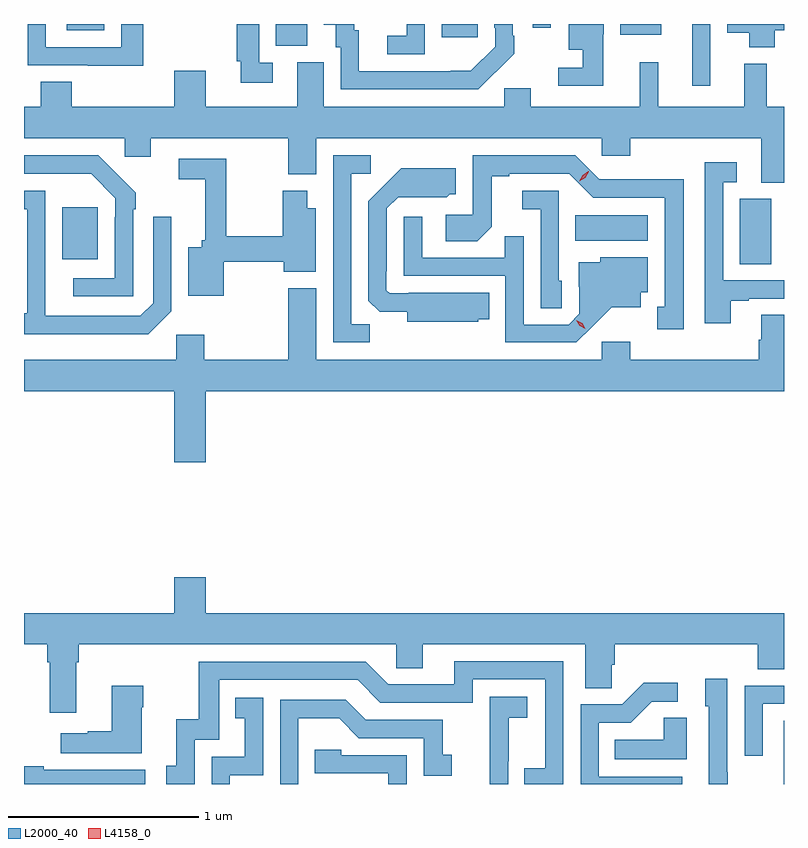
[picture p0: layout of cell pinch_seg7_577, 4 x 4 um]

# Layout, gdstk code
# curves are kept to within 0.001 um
import gdstk
lib = gdstk.Library(unit=1e-6, precision=1e-09)
def R(c, l, rs):  # rectangles x0, y0, x1, y1
    for r in rs: c.add(gdstk.rectangle(r[:2], r[2:], *l))
def P(c, l, *ps):  # polygons
    for p in ps: c.add(gdstk.Polygon(p, *l))
L2000_40 = (2000, 40)
L4158_0 = (4158, 0)

pinch_seg7_577 = lib.new_cell('pinch_seg7_577')
R(pinch_seg7_577, L2000_40, [(180.203,1055.824,180.204,1056.157), (179.972,1058.56,180.136,1058.904), (176.405,1058.585,176.593,1058.86), (179.104,1058.684,179.488,1058.818), (179.72,1059.498,179.817,1059.824), (177.53,1059.709,177.694,1059.824), (178.403,1059.753,178.591,1059.824), (179.342,1059.767,179.557,1059.824), (176.429,1059.791,176.626,1059.824), (178.881,1059.804,178.977,1059.824)])
P(pinch_seg7_577, L2000_40, [(179.253,1059.771),(179.254,1059.771),(179.254,1059.824),(179.072,1059.824),(179.072,1059.689),(179.145,1059.689),(179.145,1059.594),(179.016,1059.594),(179.016,1059.498),(179.253,1059.498)],
  [(178.685,1059.571),(178.686,1059.57),(178.784,1059.668),(178.784,1059.763),(178.776,1059.763),(178.776,1059.824),(178.68,1059.824),(178.68,1059.805),(178.683,1059.805),(178.683,1059.705),(178.555,1059.577),(178.451,1059.576),(177.967,1059.576),(177.967,1059.792),(177.943,1059.792),(177.943,1059.824),(177.782,1059.824),(177.782,1059.821),(177.845,1059.821),(177.845,1059.702),(177.87,1059.702),(177.87,1059.48),(178.594,1059.48)],
  [(176.831,1059.824),(176.715,1059.824),(176.715,1059.702),(176.319,1059.702),(176.319,1059.824),(176.223,1059.824),(176.223,1059.606),(176.539,1059.606),(176.539,1059.605),(176.831,1059.605)],
  [(178.314,1059.824),(178.218,1059.824),(178.218,1059.762),(178.116,1059.762),(178.116,1059.666),(178.314,1059.666)],
  [(177.514,1059.621),(177.441,1059.621),(177.441,1059.824),(177.325,1059.824),(177.325,1059.628),(177.344,1059.628),(177.344,1059.516),(177.514,1059.516)],
  [(180.155,1059.79),(180.204,1059.79),(180.204,1059.824),(179.906,1059.824),(179.906,1059.779),(180.02,1059.779),(180.02,1059.701),(180.155,1059.701)],
  [(180.204,1059.388),(180.113,1059.388),(180.113,1059.616),(179.996,1059.616),(179.996,1059.388),(179.543,1059.388),(179.543,1059.622),(179.444,1059.622),(179.444,1059.388),(178.87,1059.388),(178.87,1059.486),(178.731,1059.486),(178.731,1059.388),(177.781,1059.388),(177.781,1059.624),(177.641,1059.624),(177.641,1059.388),(177.16,1059.388),(177.16,1059.577),(176.996,1059.577),(176.996,1059.388),(176.456,1059.388),(176.456,1059.521),(176.291,1059.521),(176.291,1059.388),(176.204,1059.388),(176.204,1059.224),(176.733,1059.224),(176.733,1059.126),(176.872,1059.126),(176.872,1059.224),(177.595,1059.224),(177.595,1059.032),(177.742,1059.032),(177.742,1059.224),(179.244,1059.224),(179.244,1059.131),(179.396,1059.131),(179.396,1059.224),(180.083,1059.224),(180.083,1058.989),(180.204,1058.989)],
  [(176.778,1058.849),(176.793,1058.849),(176.793,1058.937),(176.596,1059.132),(176.204,1059.132),(176.204,1059.036),(176.557,1059.036),(176.685,1058.907),(176.685,1058.807),(176.682,1058.807),(176.682,1058.487),(176.463,1058.487),(176.463,1058.391),(176.778,1058.391)],
  [(179.677,1059.008),(179.454,1059.008),(179.454,1059.006),(179.232,1059.006),(179.106,1059.132),(178.566,1059.132),(178.566,1058.82),(178.425,1058.82),(178.425,1058.68),(178.589,1058.68),(178.665,1058.756),(178.665,1059.024),(178.759,1059.024),(178.759,1059.036),(179.073,1059.036),(179.199,1058.91),(179.576,1058.91),(179.576,1058.337),(179.537,1058.337),(179.537,1058.217),(179.677,1058.217)],
  [(178.023,1058.243),(177.927,1058.243),(177.927,1059.036),(178.03,1059.036),(178.03,1059.132),(177.831,1059.132),(177.831,1058.148),(178.023,1058.148)],
  [(177.256,1058.572),(177.572,1058.572),(177.572,1058.519),(177.739,1058.519),(177.739,1058.854),(177.694,1058.854),(177.694,1058.947),(177.565,1058.947),(177.565,1058.708),(177.268,1058.708),(177.268,1059.114),(177.018,1059.114),(177.018,1059.006),(177.158,1059.006),(177.158,1058.685),(177.14,1058.685),(177.14,1058.65),(177.068,1058.65),(177.068,1058.393),(177.256,1058.393)],
  [(179.923,1058.367),(180.019,1058.367),(180.019,1058.379),(180.204,1058.379),(180.204,1058.475),(179.883,1058.475),(179.883,1058.991),(179.956,1058.991),(179.956,1059.097),(179.787,1059.097),(179.787,1058.25),(179.923,1058.25)],
  [(178.596,1058.27),(178.652,1058.27),(178.652,1058.41),(178.228,1058.41),(178.228,1058.406),(178.128,1058.406),(178.11,1058.424),(178.11,1058.524),(178.113,1058.524),(178.113,1058.853),(178.173,1058.913),(178.43,1058.912),(178.446,1058.928),(178.477,1058.928),(178.477,1059.064),(178.189,1059.064),(178.017,1058.89),(178.017,1058.368),(178.076,1058.309),(178.22,1058.309),(178.22,1058.258),(178.596,1058.258)],
  [(179.034,1058.472),(179.019,1058.472),(179.019,1058.946),(178.827,1058.946),(178.827,1058.849),(178.923,1058.849),(178.923,1058.329),(179.034,1058.329)],
  [(176.979,1058.313),(176.979,1058.809),(176.883,1058.809),(176.883,1058.355),(176.817,1058.289),(176.317,1058.289),(176.316,1058.946),(176.204,1058.946),(176.204,1058.85),(176.22,1058.85),(176.22,1058.302),(176.204,1058.302),(176.204,1058.192),(176.858,1058.192)],
  [(179.194,1058.231),(179.297,1058.333),(179.449,1058.333),(179.449,1058.412),(179.488,1058.412),(179.488,1058.596),(179.238,1058.596),(179.238,1058.569),(179.123,1058.569),(179.123,1058.44),(179.127,1058.44),(179.127,1058.298),(179.07,1058.241),(178.833,1058.241),(178.833,1058.708),(178.735,1058.708),(178.735,1058.595),(178.299,1058.595),(178.299,1058.809),(178.203,1058.809),(178.203,1058.499),(178.737,1058.499),(178.737,1058.148),(179.11,1058.148)],
  [(177.16,1057.892),(180.204,1057.892),(180.204,1058.294),(180.083,1058.294),(180.083,1058.162),(180.071,1058.162),(180.071,1058.056),(179.396,1058.056),(179.396,1058.152),(179.244,1058.152),(179.244,1058.056),(177.742,1058.056),(177.742,1058.434),(177.595,1058.434),(177.595,1058.056),(177.153,1058.056),(177.153,1058.188),(177.006,1058.188),(177.006,1058.056),(176.204,1058.056),(176.204,1057.892),(176.996,1057.892),(176.996,1057.518),(177.16,1057.518)],
  [(176.479,1056.464),(176.492,1056.464),(176.492,1056.56),(178.164,1056.56),(178.164,1056.433),(178.303,1056.433),(178.303,1056.56),(179.159,1056.56),(179.159,1056.328),(179.298,1056.328),(179.298,1056.451),(179.312,1056.451),(179.312,1056.56),(180.065,1056.56),(180.065,1056.427),(180.204,1056.427),(180.204,1056.724),(177.16,1056.724),(177.16,1056.913),(176.996,1056.913),(176.996,1056.724),(176.204,1056.724),(176.204,1056.56),(176.327,1056.56),(176.327,1056.464),(176.339,1056.464),(176.339,1056.198),(176.479,1056.198)],
  [(177.102,1056.057),(177.231,1056.057),(177.231,1056.372),(177.96,1056.372),(178.08,1056.252),(178.566,1056.252),(178.566,1056.375),(178.947,1056.375),(178.947,1055.906),(178.837,1055.906),(178.837,1055.824),(179.043,1055.824),(179.043,1056.471),(178.469,1056.471),(178.469,1056.348),(178.122,1056.348),(178.002,1056.468),(177.123,1056.468),(177.123,1056.166),(177.005,1056.166),(177.005,1055.919),(176.952,1055.919),(176.952,1055.824),(177.102,1055.824)],
  [(179.907,1055.885),(179.904,1055.885),(179.904,1056.379),(179.789,1056.379),(179.789,1056.234),(179.808,1056.234),(179.808,1055.824),(179.907,1055.824)],
  [(179.668,1055.862),(179.229,1055.862),(179.229,1056.147),(179.398,1056.147),(179.509,1056.258),(179.644,1056.258),(179.644,1056.356),(179.465,1056.356),(179.352,1056.243),(179.133,1056.243),(179.133,1055.824),(179.668,1055.824)],
  [(180.093,1056.246),(180.204,1056.246),(180.204,1056.342),(179.997,1056.342),(179.997,1055.973),(180.093,1055.973)],
  [(176.824,1056.227),(176.832,1056.227),(176.832,1056.34),(176.666,1056.34),(176.666,1056.101),(176.54,1056.101),(176.54,1056.091),(176.397,1056.091),(176.397,1055.987),(176.824,1055.987)],
  [(178.752,1055.945),(178.754,1055.945),(178.754,1056.173),(178.852,1056.173),(178.852,1056.283),(178.654,1056.283),(178.654,1056.077),(178.655,1056.077),(178.655,1055.824),(178.752,1055.824)],
  [(177.288,1055.871),(177.462,1055.871),(177.462,1056.277),(177.316,1056.277),(177.316,1056.171),(177.365,1056.171),(177.365,1055.967),(177.192,1055.967),(177.192,1055.824),(177.288,1055.824)],
  [(177.648,1056.17),(177.862,1056.17),(177.966,1056.066),(178.308,1056.066),(178.308,1055.868),(178.456,1055.868),(178.456,1055.977),(178.407,1055.977),(178.407,1056.162),(178.003,1056.162),(177.898,1056.267),(177.552,1056.267),(177.552,1055.824),(177.648,1055.824)],
  [(179.692,1056.173),(179.571,1056.173),(179.571,1056.058),(179.314,1056.058),(179.314,1055.954),(179.692,1055.954)],
  [(178.218,1055.976),(177.873,1055.976),(177.873,1056.003),(177.733,1056.003),(177.733,1055.88),(178.122,1055.88),(178.122,1055.824),(178.218,1055.824)],
  [(176.842,1055.898),(176.309,1055.898),(176.309,1055.918),(176.204,1055.918),(176.204,1055.824),(176.842,1055.824)])
P(pinch_seg7_577, L4158_0, [(179.126,1058.997),(179.126,1058.997),(179.144,1059.029),(179.175,1059.048),(179.176,1059.048),(179.176,1059.047),(179.158,1059.015),(179.126,1058.997)],
  [(179.158,1058.22),(179.128,1058.235),(179.111,1058.265),(179.111,1058.265),(179.111,1058.265),(179.142,1058.25),(179.159,1058.22),(179.159,1058.22)])

lib.write_gds('pinch_seg7_577.gds')
